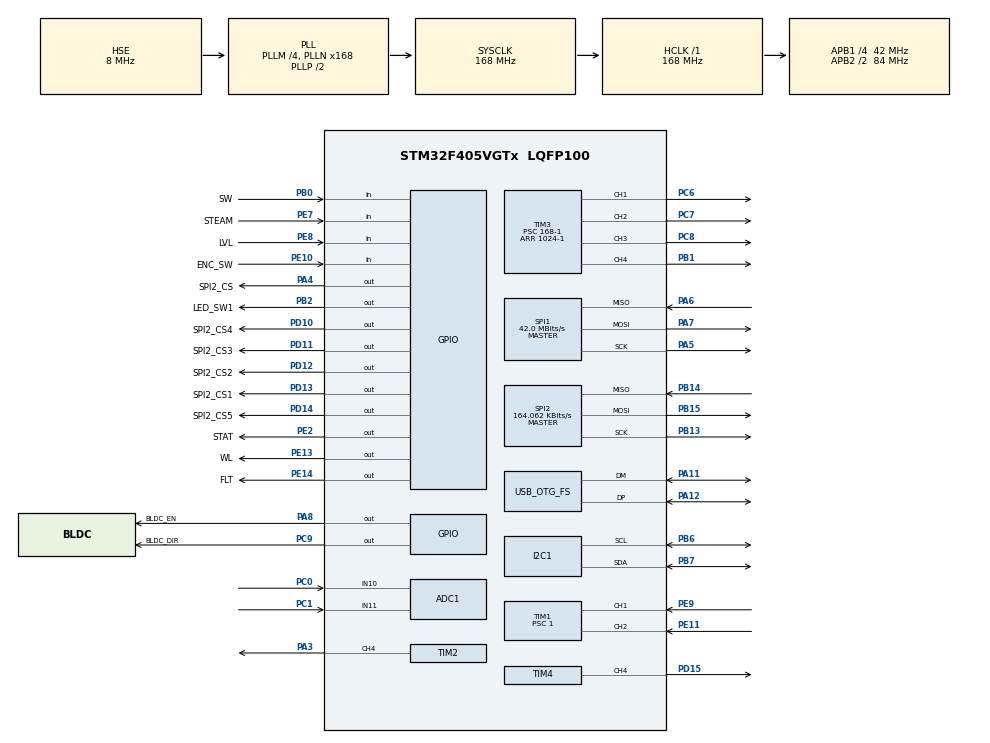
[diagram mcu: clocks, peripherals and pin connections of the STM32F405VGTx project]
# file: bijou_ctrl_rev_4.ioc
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ADC1.Channel-0\#ChannelRegularConversion=ADC_CHANNEL_10
ADC1.Channel-1\#ChannelRegularConversion=ADC_CHANNEL_11
ADC1.Channel-2\#ChannelRegularConversion=ADC_CHANNEL_TEMPSENSOR
ADC1.ContinuousConvMode=DISABLE
ADC1.DMAContinuousRequests=DISABLE
ADC1.NbrOfConversion=3
ADC1.NbrOfConversionFlag=1
ADC1.Rank-0\#ChannelRegularConversion=1
ADC1.Rank-1\#ChannelRegularConversion=2
ADC1.Rank-2\#ChannelRegularConversion=3
ADC1.SamplingTime-0\#ChannelRegularConversion=ADC_SAMPLETIME_480CYCLES
ADC1.SamplingTime-1\#ChannelRegularConversion=ADC_SAMPLETIME_480CYCLES
ADC1.SamplingTime-2\#ChannelRegularConversion=ADC_SAMPLETIME_480CYCLES
ADC1.master=1
FREERTOS.Tasks01=defaultTask,24,512,StartDefaultTask,Default,NULL,Dynamic,NULL,NULL;temperatureTask,32,1024,StartTemperatureTask,Default,NULL,Dynamic,NULL,NULL;oledTask,8,1024,StartOledTask,Default,NULL,Dynamic,NULL,NULL;sleepTask,16,128,StartSleepTask,Default,NULL,Dynamic,NULL,NULL;bldcTask,32,128,StartBldcTask,Default,NULL,Dynamic,NULL,NULL;statemachineTas,8,128,StartStateMachine,Default,NULL,Dynamic,NULL,NULL;guiTask,8,128,StartGuiTask,Default,NULL,Dynamic,NULL,NULL
FREERTOS.configCHECK_FOR_STACK_OVERFLOW=0
FREERTOS.configUSE_NEWLIB_REENTRANT=1
I2C1.I2C_Mode=I2C_Standard
Mcu.Family=STM32F4
Mcu.Name=STM32F405VGTx
Mcu.Package=LQFP100
NVIC.OTG_FS_IRQn=true\:5\:0\:false\:false\:true\:true\:false\:true
NVIC.PriorityGroup=NVIC_PRIORITYGROUP_4
NVIC.TIM8_TRG_COM_TIM14_IRQn=true\:15\:0\:false\:false\:true\:false\:false\:true
NVIC.TimeBase=TIM8_TRG_COM_TIM14_IRQn
NVIC.TimeBaseIP=TIM14
PA11.Mode=Device_Only
PA11.Signal=USB_OTG_FS_DM
PA12.Mode=Device_Only
PA12.Signal=USB_OTG_FS_DP
PA13.Mode=Serial_Wire
PA13.Signal=SYS_JTMS-SWDIO
PA14.Mode=Serial_Wire
PA14.Signal=SYS_JTCK-SWCLK
PA3.Signal=S_TIM2_CH4
PA4.GPIO_Label=SPI2_CS
PA4.Signal=GPIO_Output
PA5.Mode=Full_Duplex_Master
PA5.Signal=SPI1_SCK
PA6.Mode=Full_Duplex_Master
PA6.Signal=SPI1_MISO
PA7.Mode=Full_Duplex_Master
PA7.Signal=SPI1_MOSI
PA8.GPIO_Label=BLDC_EN
PA8.Signal=GPIO_Output
PB0.GPIO_Label=SW
PB0.Signal=GPIO_Input
PB1.Signal=S_TIM3_CH4
PB13.Mode=Full_Duplex_Master
PB13.Signal=SPI2_SCK
PB14.Mode=Full_Duplex_Master
PB14.Signal=SPI2_MISO
PB15.Mode=Full_Duplex_Master
PB15.Signal=SPI2_MOSI
PB2.GPIO_Label=LED_SW1
PB2.Signal=GPIO_Output
PB6.Mode=I2C
PB6.Signal=I2C1_SCL
PB7.Mode=I2C
PB7.Signal=I2C1_SDA
PC0.Signal=ADCx_IN10
PC1.Signal=ADCx_IN11
PC6.Signal=S_TIM3_CH1
PC7.Signal=S_TIM3_CH2
PC8.Signal=S_TIM3_CH3
PC9.GPIO_Label=BLDC_DIR
PC9.Signal=GPIO_Output
PD10.GPIO_Label=SPI2_CS4
PD10.Signal=GPIO_Output
PD11.GPIO_Label=SPI2_CS3
PD11.Signal=GPIO_Output
PD12.GPIO_Label=SPI2_CS2
PD12.Signal=GPIO_Output
PD13.GPIO_Label=SPI2_CS1
PD13.Signal=GPIO_Output
PD14.GPIO_Label=SPI2_CS5
PD14.Signal=GPIO_Output
PD15.Signal=S_TIM4_CH4
PE10.GPIO_Label=ENC_SW
PE10.Signal=GPIO_Input
PE11.Signal=S_TIM1_CH2
PE13.GPIO_Label=WL
PE13.Signal=GPIO_Output
PE14.GPIO_Label=FLT
PE14.Signal=GPIO_Output
PE2.GPIO_Label=STAT
PE2.Signal=GPIO_Output
PE7.GPIO_Label=STEAM
PE7.Signal=GPIO_Input
PE8.GPIO_Label=LVL
PE8.Signal=GPIO_Input
PE9.Signal=S_TIM1_CH1
PH0-OSC_IN.Mode=HSE-External-Oscillator
PH0-OSC_IN.Signal=RCC_OSC_IN
PH1-OSC_OUT.Mode=HSE-External-Oscillator
PH1-OSC_OUT.Signal=RCC_OSC_OUT
ProjectManager.HeapSize=0x4000
ProjectManager.StackSize=0x6000
ProjectManager.TargetToolchain=STM32CubeIDE
RCC.48MHZClocksFreq_Value=48000000
RCC.AHBFreq_Value=168000000
RCC.APB1CLKDivider=RCC_HCLK_DIV4
RCC.APB1Freq_Value=42000000
RCC.APB1TimFreq_Value=84000000
RCC.APB2CLKDivider=RCC_HCLK_DIV2
RCC.APB2Freq_Value=84000000
RCC.APB2TimFreq_Value=168000000
RCC.CortexFreq_Value=168000000
RCC.HCLKFreq_Value=168000000
RCC.HSE_VALUE=8000000
RCC.HSI_VALUE=16000000
RCC.LSE_VALUE=32768
RCC.PLLM=4
RCC.PLLN=168
RCC.PLLQ=7
RCC.SYSCLKFreq_VALUE=168000000
RCC.SYSCLKSource=RCC_SYSCLKSOURCE_PLLCLK
RCC.VCOOutputFreq_Value=336000000
SH.ADCx_IN10.0=ADC1_IN10,IN10
SH.ADCx_IN11.0=ADC1_IN11,IN11
SH.S_TIM1_CH1.0=TIM1_CH1,Encoder_Interface
SH.S_TIM1_CH2.0=TIM1_CH2,Encoder_Interface
SH.S_TIM2_CH4.0=TIM2_CH4,PWM Generation4 CH4
SH.S_TIM3_CH1.0=TIM3_CH1,PWM Generation1 CH1
SH.S_TIM3_CH2.0=TIM3_CH2,PWM Generation2 CH2
SH.S_TIM3_CH3.0=TIM3_CH3,PWM Generation3 CH3
SH.S_TIM3_CH4.0=TIM3_CH4,PWM Generation4 CH4
SH.S_TIM4_CH4.0=TIM4_CH4,PWM Generation4 CH4
SPI1.CLKPhase=SPI_PHASE_2EDGE
SPI1.CLKPolarity=SPI_POLARITY_HIGH
SPI1.CalculateBaudRate=42.0 MBits/s
SPI1.Direction=SPI_DIRECTION_2LINES
SPI1.Mode=SPI_MODE_MASTER
SPI1.VirtualType=VM_MASTER
SPI2.BaudRatePrescaler=SPI_BAUDRATEPRESCALER_256
SPI2.CLKPhase=SPI_PHASE_2EDGE
SPI2.CLKPolarity=SPI_POLARITY_HIGH
SPI2.CalculateBaudRate=164.062 KBits/s
SPI2.DataSize=SPI_DATASIZE_8BIT
SPI2.Direction=SPI_DIRECTION_2LINES
SPI2.Mode=SPI_MODE_MASTER
SPI2.VirtualType=VM_MASTER
TIM1.AutoReloadPreload=TIM_AUTORELOAD_PRELOAD_DISABLE
TIM1.CounterMode=TIM_COUNTERMODE_UP
TIM1.EncoderMode=TIM_ENCODERMODE_TI12
TIM1.IC1Filter=15
TIM1.IC1Polarity=TIM_ICPOLARITY_FALLING
TIM1.IC2Filter=15
TIM1.Period=100
TIM1.Prescaler=1
TIM1.TIM_MasterOutputTrigger=TIM_TRGO_RESET
TIM2.AutoReloadPreload=TIM_AUTORELOAD_PRELOAD_ENABLE
TIM2.Channel-PWM\ Generation4\ CH4=TIM_CHANNEL_4
TIM2.Period=255-1
TIM2.Prescaler=0
TIM3.AutoReloadPreload=TIM_AUTORELOAD_PRELOAD_ENABLE
TIM3.Channel-PWM\ Generation1\ CH1=TIM_CHANNEL_1
TIM3.Channel-PWM\ Generation2\ CH2=TIM_CHANNEL_2
TIM3.Channel-PWM\ Generation3\ CH3=TIM_CHANNEL_3
TIM3.Channel-PWM\ Generation4\ CH4=TIM_CHANNEL_4
TIM3.Period=1024-1
TIM3.Prescaler=168-1
TIM4.AutoReloadPreload=TIM_AUTORELOAD_PRELOAD_ENABLE
TIM4.Channel-PWM\ Generation4\ CH4=TIM_CHANNEL_4
USB_DEVICE.CLASS_NAME_FS=CDC
USB_DEVICE.VirtualMode-CDC_FS=Cdc
USB_DEVICE.VirtualModeFS=Cdc_FS
USB_OTG_FS.VirtualMode=Device_Only
VP_ADC1_TempSens_Input.Mode=IN-TempSens
VP_FREERTOS_VS_CMSIS_V2.Mode=CMSIS_V2
VP_SYS_VS_tim14.Mode=TIM14
VP_TIM2_VS_ClockSourceINT.Mode=Internal
VP_TIM3_VS_ClockSourceINT.Mode=Internal
VP_TIM4_VS_ClockSourceINT.Mode=Internal
VP_USB_DEVICE_VS_USB_DEVICE_CDC_FS.Mode=CDC_FS
board=custom

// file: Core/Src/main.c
/* USER CODE BEGIN Header */
/**
  ******************************************************************************
  * @file           : main.c
  * @brief          : Main program body
  ******************************************************************************
  * @attention
  *
  * <h2><center>&copy; Copyright (c) 2021 STMicroelectronics.
  * All rights reserved.</center></h2>
  *
  * This software component is licensed by ST under BSD 3-Clause license,
  * the "License"; You may not use this file except in compliance with the
  * License. You may obtain a copy of the License at:
  *                        opensource.org/licenses/BSD-3-Clause
  *
  ******************************************************************************
  */
/* USER CODE END Header */
#include "main.h"
#include "cmsis_os.h"
#include "adc.h"
#include "i2c.h"
#include "spi.h"
#include "tim.h"
#include "usb_device.h"
#include "gpio.h"

/* USER CODE BEGIN Includes */
#include "string.h"
/* USER CODE END Includes */

void SystemClock_Config(void);
void MX_FREERTOS_Init(void);

int main(void)
{

  /* MCU Configuration--------------------------------------------------------*/

  /* Reset of all peripherals, Initializes the Flash interface and the Systick. */
  HAL_Init();

  /* Configure the system clock */
  SystemClock_Config();

  /* Initialize all configured peripherals */
  MX_GPIO_Init();
  MX_ADC1_Init();
  MX_I2C1_Init();
  MX_SPI1_Init();
  MX_SPI2_Init();
  MX_TIM2_Init();
  MX_TIM3_Init();
  MX_TIM4_Init();
  MX_TIM1_Init();

  /* Init scheduler */
  osKernelInitialize();  /* Call init function for freertos objects (in freertos.c) */
  MX_FREERTOS_Init();
  /* Start scheduler */
  osKernelStart();

  /* We should never get here as control is now taken by the scheduler */
  /* Infinite loop */
  while (1)
  {

  }
}

void SystemClock_Config(void)
{
  RCC_OscInitTypeDef RCC_OscInitStruct = {0};
  RCC_ClkInitTypeDef RCC_ClkInitStruct = {0};

  /** Configure the main internal regulator output voltage
  */
  __HAL_RCC_PWR_CLK_ENABLE();
  __HAL_PWR_VOLTAGESCALING_CONFIG(PWR_REGULATOR_VOLTAGE_SCALE1);
  /** Initializes the RCC Oscillators according to the specified parameters
  * in the RCC_OscInitTypeDef structure.
  */
  RCC_OscInitStruct.OscillatorType = RCC_OSCILLATORTYPE_HSE;
  RCC_OscInitStruct.HSEState = RCC_HSE_ON;
  RCC_OscInitStruct.PLL.PLLState = RCC_PLL_ON;
  RCC_OscInitStruct.PLL.PLLSource = RCC_PLLSOURCE_HSE;
  RCC_OscInitStruct.PLL.PLLM = 4;
  RCC_OscInitStruct.PLL.PLLN = 168;
  RCC_OscInitStruct.PLL.PLLP = RCC_PLLP_DIV2;
  RCC_OscInitStruct.PLL.PLLQ = 7;
  if (HAL_RCC_OscConfig(&RCC_OscInitStruct) != HAL_OK)
  {
    Error_Handler();
  }
  /** Initializes the CPU, AHB and APB buses clocks
  */
  RCC_ClkInitStruct.ClockType = RCC_CLOCKTYPE_HCLK|RCC_CLOCKTYPE_SYSCLK
                              |RCC_CLOCKTYPE_PCLK1|RCC_CLOCKTYPE_PCLK2;
  RCC_ClkInitStruct.SYSCLKSource = RCC_SYSCLKSOURCE_PLLCLK;
  RCC_ClkInitStruct.AHBCLKDivider = RCC_SYSCLK_DIV1;
  RCC_ClkInitStruct.APB1CLKDivider = RCC_HCLK_DIV4;
  RCC_ClkInitStruct.APB2CLKDivider = RCC_HCLK_DIV2;

  if (HAL_RCC_ClockConfig(&RCC_ClkInitStruct, FLASH_LATENCY_5) != HAL_OK)
  {
    Error_Handler();
  }
}

void HAL_TIM_PeriodElapsedCallback(TIM_HandleTypeDef *htim)
{
  if (htim->Instance == TIM14) {
    HAL_IncTick();
  }
}

void Error_Handler(void)
{
  __disable_irq();
  while (1)
  {
  }
}

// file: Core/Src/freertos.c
/* USER CODE BEGIN Header */
/**
  ******************************************************************************
  * File Name          : freertos.c
  * Description        : Code for freertos applications
  ******************************************************************************
  * @attention
  *
  * Copyright (c) 2021 STMicroelectronics.
  * All rights reserved.
  *
  * This software is licensed under terms that can be found in the LICENSE file
  * in the root directory of this software component.
  * If no LICENSE file comes with this software, it is provided AS-IS.
  *
  ******************************************************************************
  */
/* USER CODE END Header */

#include "FreeRTOS.h"
#include "task.h"
#include "main.h"
#include "cmsis_os.h"

/* USER CODE BEGIN Includes */
#include "string.h"
#include "usbd_cdc_if.h"
#include "adc.h"
#include "i2c.h"
#include "spi.h"
#include "tim.h"
#include "buzz.h"
#include "gpio.h"
#include "pid.h"
#include "ctrl.h"
#include "fonts.h"
#include "u8g_arm.h"
#include "coffee_params.h"
#include <stdio.h>
#include <math.h>
#include "MAX31865.h"

/* USER CODE END Includes */

/* USER CODE BEGIN PTD */
MAX31865_SPI max31865_t1;
MAX31865_SPI max31865_t2;
MAX31865_SPI max31865_t3;
MAX31865_SPI max31865_t4;
MAX31865_SPI max31865_t5;
/* USER CODE END PTD */

/* USER CODE BEGIN PM */
struct GUI_dev GUI = GUI_INIT();
struct SYS_dev SYS = SYS_INIT();
struct PID_dev BOILER_PID = PID_BOILER_INIT();
struct PID_dev STEAMER_PID = PID_STEAMER_INIT();
struct PUMP_dev PUMP = PUMP_INIT();
struct BOILER_dev BOILER = BOILER_INIT();
struct BOILER_dev STEAMER = BOILER_INIT();

/* USER CODE END PM */

/* USER CODE BEGIN Variables */
float temperature1;
float temperature2;
float temperature3;
float temperature4;
float temperature5;
/* USER CODE END Variables */
/* Definitions for defaultTask */
osThreadId_t defaultTaskHandle;
const osThreadAttr_t defaultTask_attributes = {
  .name = "defaultTask",
  .stack_size = 512 * 4,
  .priority = (osPriority_t) osPriorityNormal,
};
/* Definitions for temperatureTask */
osThreadId_t temperatureTaskHandle;
const osThreadAttr_t temperatureTask_attributes = {
  .name = "temperatureTask",
  .stack_size = 1024 * 4,
  .priority = (osPriority_t) osPriorityAboveNormal,
};
/* Definitions for oledTask */
osThreadId_t oledTaskHandle;
const osThreadAttr_t oledTask_attributes = {
  .name = "oledTask",
  .stack_size = 1024 * 4,
  .priority = (osPriority_t) osPriorityLow,
};
/* Definitions for sleepTask */
osThreadId_t sleepTaskHandle;
const osThreadAttr_t sleepTask_attributes = {
  .name = "sleepTask",
  .stack_size = 128 * 4,
  .priority = (osPriority_t) osPriorityBelowNormal,
};
/* Definitions for bldcTask */
osThreadId_t bldcTaskHandle;
const osThreadAttr_t bldcTask_attributes = {
  .name = "bldcTask",
  .stack_size = 128 * 4,
  .priority = (osPriority_t) osPriorityAboveNormal,
};
/* Definitions for statemachineTas */
osThreadId_t statemachineTasHandle;
const osThreadAttr_t statemachineTas_attributes = {
  .name = "statemachineTas",
  .stack_size = 128 * 4,
  .priority = (osPriority_t) osPriorityLow,
};
/* Definitions for guiTask */
osThreadId_t guiTaskHandle;
const osThreadAttr_t guiTask_attributes = {
  .name = "guiTask",
  .stack_size = 128 * 4,
  .priority = (osPriority_t) osPriorityLow,
};

void StartDefaultTask(void *argument);
void StartTemperatureTask(void *argument);
void StartOledTask(void *argument);
void StartSleepTask(void *argument);
void StartBldcTask(void *argument);
void StartStateMachine(void *argument);
void StartGuiTask(void *argument);

extern void MX_USB_DEVICE_Init(void);
void MX_FREERTOS_Init(void); /* (MISRA C 2004 rule 8.1) */

void MX_FREERTOS_Init(void) {
  /* USER CODE BEGIN Init */
  // adc init

  //HAL_ADC_Stop_DMA(&hadc1);
  //HAL_ADC_Start_DMA(&hadc1, (uint32_t*)adc_buf, 2);

  // encoder
  HAL_TIM_Encoder_Start(&htim1, TIM_CHANNEL_ALL);

  // servo/buzzer PWM
  HAL_TIM_PWM_Start(&htim2, TIM_CHANNEL_4);

  // PWM
  // heater 1
  HAL_TIM_PWM_Start(&htim3, TIM_CHANNEL_1);
  // heater 2
  HAL_TIM_PWM_Start(&htim3, TIM_CHANNEL_2);

  HAL_TIM_PWM_Start(&htim3, TIM_CHANNEL_3);
  HAL_TIM_PWM_Start(&htim3, TIM_CHANNEL_4);
  HAL_TIM_PWM_Start(&htim4, TIM_CHANNEL_4);

  TIM2->CCR4 = 0;
  TIM3->CCR1 = 0;
  TIM3->CCR2 = 0;
  TIM3->CCR3 = 0;
  TIM3->CCR4 = 0;
  TIM4->CCR4 = 0;

  TIM1->CNT = 0;

  /* USER CODE END Init */

  /* Create the thread(s) */
  /* creation of defaultTask */
  defaultTaskHandle = osThreadNew(StartDefaultTask, NULL, &defaultTask_attributes);

  /* creation of temperatureTask */
  temperatureTaskHandle = osThreadNew(StartTemperatureTask, NULL, &temperatureTask_attributes);

  /* creation of oledTask */
  oledTaskHandle = osThreadNew(StartOledTask, NULL, &oledTask_attributes);

  /* creation of sleepTask */
  sleepTaskHandle = osThreadNew(StartSleepTask, NULL, &sleepTask_attributes);

  /* creation of bldcTask */
  bldcTaskHandle = osThreadNew(StartBldcTask, NULL, &bldcTask_attributes);

  /* creation of statemachineTas */
  statemachineTasHandle = osThreadNew(StartStateMachine, NULL, &statemachineTas_attributes);

  /* creation of guiTask */
  guiTaskHandle = osThreadNew(StartGuiTask, NULL, &guiTask_attributes);

}

void StartDefaultTask(void *argument)
{
  /* init code for USB_DEVICE */
  MX_USB_DEVICE_Init();
  /* USER CODE BEGIN StartDefaultTask */
  /* Infinite loop */

  for(;;)
  {
	HAL_GPIO_WritePin(STAT_GPIO_Port, STAT_Pin, 1);
	osDelay(500);

	HAL_GPIO_WritePin(STAT_GPIO_Port, STAT_Pin, 0);
	osDelay(500);
  }
  /* USER CODE END StartDefaultTask */
}

void StartTemperatureTask(void *argument)
{
  /* USER CODE BEGIN StartTemperatureTask */
  /* Infinite loop */

  HAL_GPIO_WritePin(WL_GPIO_Port, WL_Pin, 1);
  osDelay(100);

  MAX31865_init(&max31865_t1, SPI2_CS1_GPIO_Port, SPI2_CS1_Pin, &hspi2, WIRE2, 0);
  MAX31865_init(&max31865_t2, SPI2_CS2_GPIO_Port, SPI2_CS2_Pin, &hspi2, WIRE2, 3.7 + 0.7);
  MAX31865_init(&max31865_t3, SPI2_CS3_GPIO_Port, SPI2_CS3_Pin, &hspi2, WIRE2, 2.2 + 0.9);
  MAX31865_init(&max31865_t4, SPI2_CS4_GPIO_Port, SPI2_CS4_Pin, &hspi2, WIRE2, 0);
  MAX31865_init(&max31865_t5, SPI2_CS5_GPIO_Port, SPI2_CS5_Pin, &hspi2, WIRE2, 0);

  osDelay(100);

  HAL_GPIO_WritePin(WL_GPIO_Port, WL_Pin, 0);

  osDelay(2000);

  uint32_t counter = 0;
  for(;;)
  {
	HAL_GPIO_WritePin(WL_GPIO_Port, WL_Pin, 1);
	temperature1 = MAX31865_temperature(&max31865_t1);
	temperature2 = MAX31865_temperature(&max31865_t2);
	temperature3 = MAX31865_temperature(&max31865_t3);
	temperature4 = MAX31865_temperature(&max31865_t4);
	temperature5 = MAX31865_temperature(&max31865_t5);
	//BOILER.temperature = (float)temperature1;
	if (counter % (PID_INTERVAL / TEMPERATURE_READOUT_INTERVAL) == 0){
		compute(&BOILER_PID, temperature3);
		compute(&STEAMER_PID, temperature2);
	}

	printf("%lu, %3.2f, %3.2f, %3.2f, %3.2f, %3.2f, %u\n",
			HAL_GetTick(), temperature1, temperature2, temperature3, temperature4, temperature5, BOILER_PID.pwr);
	osDelay(TEMPERATURE_READOUT_INTERVAL / 2);
	HAL_GPIO_WritePin(WL_GPIO_Port, WL_Pin, 0);
    osDelay(TEMPERATURE_READOUT_INTERVAL / 2);
    counter++;
  }
  /* USER CODE END StartTemperatureTask */
}

void StartOledTask(void *argument)
{
  /* USER CODE BEGIN StartOledTask */
  /* Infinite loop */
  char buffer[20];
  char state_names[][20] = {"IDLE", "HEATING", "READY", "PRE_INFUSE", "EXTRACTING", "DEBUG_EXTRACTION"};

  static u8g_t u8g;
  u8g_InitComFn(&u8g, &u8g_dev_ssd1306_128x64_i2c, u8g_com_hw_i2c_fn); //here we initialise our u8glib driver

  u8g_FirstPage(&u8g);
  do
  {
	u8g_SetFont(&u8g, u8g_font_profont12);//set current font
	u8g_DrawStr(&u8g, 35, 40, "Bijou");//write string - you set coordinates and string
	//u8g_DrawBox(&u8g, 30, 30, 35, 35);//draw some box
  } while ( u8g_NextPage(&u8g) );
  u8g_Delay(1000);

  u8g_FirstPage(&u8g);
  do
  {
	 sprintf(buffer, "T1 config: %d", MAX31865_configuration(&max31865_t1));
	 u8g_DrawStr(&u8g, 0, 12, buffer);
	 sprintf(buffer, "T2 config: %d", MAX31865_configuration(&max31865_t2));
	 u8g_DrawStr(&u8g, 0, 22, buffer);
	 sprintf(buffer, "T3 config: %d", MAX31865_configuration(&max31865_t3));
	 u8g_DrawStr(&u8g, 0, 32, buffer);
	 sprintf(buffer, "T4 config: %d", MAX31865_configuration(&max31865_t4));
	 u8g_DrawStr(&u8g, 0, 42, buffer);
	 sprintf(buffer, "T5 config: %d", MAX31865_configuration(&max31865_t5));
	 u8g_DrawStr(&u8g, 0, 52, buffer);
  } while ( u8g_NextPage(&u8g) );
  u8g_Delay(1000);

  /* Infinite loop */
  for(;;)
  {

	u8g_FirstPage(&u8g);
	do
	{
		u8g_SetFont(&u8g, u8g_font_profont11); //set current font
		sprintf(buffer, "T: %dC PROBE: %3.1fC", GUI.target_set, temperature1);
		u8g_DrawStr(&u8g, 0, 11, buffer);
		sprintf(buffer, "GH: %3.1fC TB: %3.1fC", temperature2, temperature3);
		u8g_DrawStr(&u8g, 0, 22, buffer);
		sprintf(buffer, "P: %ld D: %ld", (int32_t)BOILER_PID.p, (int32_t)BOILER_PID.d);
		u8g_DrawStr(&u8g, 0, 32, buffer);
		sprintf(buffer, "hpwr: %ld pwr: %ld", (int32_t)TIM3->CCR1, (int32_t)TIM3->CCR3);
		u8g_DrawStr(&u8g, 0, 44, buffer);
		sprintf(buffer, "c: %u p: %u s: %d", (uint16_t)TIM1->CNT, (uint16_t)PUMP.motor_v, SYS.state);
		u8g_DrawStr(&u8g, 0, 55, buffer);
		u8g_SetFont(&u8g, u8g_font_04b_03b); //set current font
		u8g_DrawStr(&u8g, 0, 63, state_names[SYS.state - IDLE]);

	} while ( u8g_NextPage(&u8g) );

	osDelay(OLED_INTERVAL);
  }
  /* USER CODE END StartOledTask */
}

void StartSleepTask(void *argument)
{
  /* USER CODE BEGIN StartSleepTask */
  /* Infinite loop */
  uint16_t cnt = 0;
  for(;;)
  {
	cnt += 20;
	switch(SYS.state){
		case IDLE:
			TIM3->CCR4 = 0;
			break;
		case HEATING:
			TIM3->CCR4 = (uint16_t) (512 - 512 * cosf((float)cnt / 512.0 * M_PI)); // LED1
			break;
		case READY:
			TIM3->CCR4 = 1023;
			break;
		case PRE_INFUSE:
			// fast blinking
			TIM3->CCR4 = 1023;
			osDelay(250);
			TIM3->CCR4 = 0;
			osDelay(250 - SLEEP_INTERVAL);
			break;
		case EXTRACTING:
			// slow blinking
			TIM3->CCR4 = 1023;
			osDelay(500);
			TIM3->CCR4 = 0;
			osDelay(500 - SLEEP_INTERVAL);
			break;
		default:
			TIM3->CCR4 = 0;
			break;
	}
    osDelay(SLEEP_INTERVAL);
  }
  /* USER CODE END StartSleepTask */
}

void StartBldcTask(void *argument)
{
  /* USER CODE BEGIN StartBldcTask */
  /* Infinite loop */
  for(;;)
  {
	  switch(PUMP.state){
		  case IDLE:
			  PUMP.motor_en = 0;
			  PUMP.motor_v = 0;
			  break;
		  case HEATING:
			  PUMP.motor_en = 1;
			  PUMP.motor_v = (uint16_t)(1024.0 / 100 * GUI.pwr_set);
			  break;
		  case PRE_INFUSE:
			  PUMP.motor_en = 1;
			  PUMP.motor_v = 100;
			  osDelay(4000);
			  SYS.state = EXTRACTING;
			  break;
		  case EXTRACTING:
			  PUMP.motor_en = 1;
			  PUMP.motor_v = 1024;
			  osDelay(25000);
			  SYS.state = IDLE;
			  break;
		  case DEBUG_EXTRACTION:
			  PUMP.motor_en = 1;
			  PUMP.motor_v = (uint16_t)(1024.0 / 100 * GUI.pwr_set);
		  default:
			  PUMP.motor_en = 0;
			  PUMP.motor_v = 0;
			  PUMP.state = IDLE;
			  break;
	  }
	  osDelay(BLDC_INTERVAL);

  }
  /* USER CODE END StartBldcTask */
}

void StartStateMachine(void *argument)
{
  /* USER CODE BEGIN StartStateMachine */
	uint16_t BOILER_PWR = 0;
	uint16_t STEAMER_PWR = 0;
	HAL_GPIO_WritePin(BLDC_DIR_GPIO_Port, BLDC_DIR_Pin, 0);
	HAL_GPIO_WritePin(BLDC_EN_GPIO_Port, BLDC_EN_Pin, 1);
	STEAMER.active = 0;
  /* Infinite loop */
  for(;;)
  {
	  switch(SYS.state){
		  case IDLE:
			  PUMP.state = IDLE;
			  BOILER_PWR = 0;
			  STEAMER_PWR = 0;
			  SYS.state = HEATING;
			  break;
		  case HEATING:
			  PUMP.state = HEATING;
			  BOILER_PWR = BOILER_PID.pwr;
			  STEAMER_PWR = STEAMER_PID.pwr;
			  // check if boiler is ready
			  if ((BOILER.temperature < BOILER_PID.target * 1.05)
							  && (BOILER.temperature > BOILER_PID.target * 0.95)){
				  BOILER.state = READY;
			  }
			  // check if steamer is not active or ready
			  if ((STEAMER.active == 0) ||
					  ((STEAMER.temperature < STEAMER_PID.target * 1.05)
							  && (STEAMER.temperature > STEAMER_PID.target * 0.95))){
				  STEAMER.state = READY;
			  }

			  if ((STEAMER.state == READY) && (BOILER.state == READY)){
				  SYS.state = READY;
			  }
			  break;
		  case READY:
			  PUMP.state = IDLE;
			  BOILER_PWR = BOILER_PID.pwr;
			  STEAMER_PWR = STEAMER_PID.pwr;
			  if (GUI.lever_button_state == PRESSED){
				  if (DEBUG){
					  SYS.state = DEBUG_EXTRACTION;
				  } else {
					  SYS.state = PRE_INFUSE;
				  }
			  }
			  break;
		  case PRE_INFUSE:
			  PUMP.state = PRE_INFUSE;
			  BOILER_PWR = BOILER_PID.pwr;
			  STEAMER_PWR = STEAMER_PID.pwr;
			  break;
		  case EXTRACTING:
			  PUMP.state = EXTRACTING;
			  BOILER_PWR = 1023;
			  STEAMER_PWR = 1023;
			  if ((SYS.lever_button == 0) || (PUMP.state == IDLE)){
				  PUMP.state = IDLE;
				  SYS.state = HEATING;
			  }
			  break;
		  case DEBUG_EXTRACTION:
			  PUMP.state = EXTRACTING;
			  BOILER_PWR = (uint16_t)(1024.0 / 100 * GUI.pwr_set);
			  STEAMER_PWR = (uint16_t)(1024.0 / 100 * GUI.pwr_set);
			  if ((SYS.lever_button == 0) || (PUMP.state == IDLE)){
				  PUMP.state = IDLE;
				  SYS.state = HEATING;
			  }
			  break;
		  default:
			  SYS.state = IDLE;
			  PUMP.state = IDLE;
			  BOILER_PWR = 0;
			  STEAMER_PWR = 0;
			  break;
	  }

	  // update Output
	  TIM3->CCR1 = BOILER_PWR;
	  TIM3->CCR2 = STEAMER_PWR;
	  TIM3->CCR3 = PUMP.motor_v;
	  HAL_GPIO_WritePin(BLDC_EN_GPIO_Port, BLDC_EN_Pin, 1 - PUMP.motor_en);

	  osDelay(STATE_MACHINE_INTERVAL);
  }
  /* USER CODE END StartStateMachine */
}

void StartGuiTask(void *argument)
{
  /* USER CODE BEGIN StartGuiTask */
  /* Infinite loop */
  for(;;)
  {
	switch (GUI.enc_mode){
		case PWR_MODE:
			if (GUI.enc_button_state == PRESSED){
				GUI.enc_mode = TARGET_MODE;
				TIM1->CNT = GUI.target_set - 20;
			} else {
				GUI.pwr_set = TIM1->CNT;
			}
			break;
		case TARGET_MODE:
			if (GUI.enc_button_state == PRESSED){
				GUI.enc_mode = PWR_MODE;
				TIM1->CNT = GUI.pwr_set;
			} else {
				GUI.target_set = TIM1->CNT + 20;
				BOILER_PID.target = (float)GUI.target_set;
			}
			break;
		default:
			GUI.enc_mode = PWR_MODE;
			break;
	}

	switch (GUI.enc_button_state){
		case NOT_PRESSED:
			if (HAL_GPIO_ReadPin(ENC_SW_GPIO_Port, ENC_SW_Pin) == 0){
				GUI.enc_button_state = PRESSED;
			}
			break;
		case PRESSED:
			if (HAL_GPIO_ReadPin(ENC_SW_GPIO_Port, ENC_SW_Pin) == 1){
				GUI.enc_button_state = NOT_PRESSED;
			}
			break;
		default:
			GUI.enc_button_state = NOT_PRESSED;
			break;
	}

	switch (GUI.lever_button_state){
		case NOT_PRESSED:
			if (HAL_GPIO_ReadPin(SW_GPIO_Port, SW_Pin) == 0){
				GUI.lever_button_state = PRESSED;
			}
			break;
		case PRESSED:
			if (HAL_GPIO_ReadPin(SW_GPIO_Port, SW_Pin) == 1){
				GUI.lever_button_state = NOT_PRESSED;
			}
			break;
		default:
			GUI.lever_button_state = NOT_PRESSED;
			break;
	}

	switch (GUI.steam_button_state){
		case NOT_PRESSED:
			if (HAL_GPIO_ReadPin(STEAM_GPIO_Port, STEAM_Pin) == 0){
				GUI.steam_button_state = PRESSED;
			}
			break;
		case PRESSED:
			if (HAL_GPIO_ReadPin(STEAM_GPIO_Port, STEAM_Pin) == 1){
				GUI.steam_button_state = NOT_PRESSED;
			}
			break;
		default:
			GUI.steam_button_state = NOT_PRESSED;
			break;
	}
    osDelay(GUI_INTERVAL);
  }
  /* USER CODE END StartGuiTask */
}
